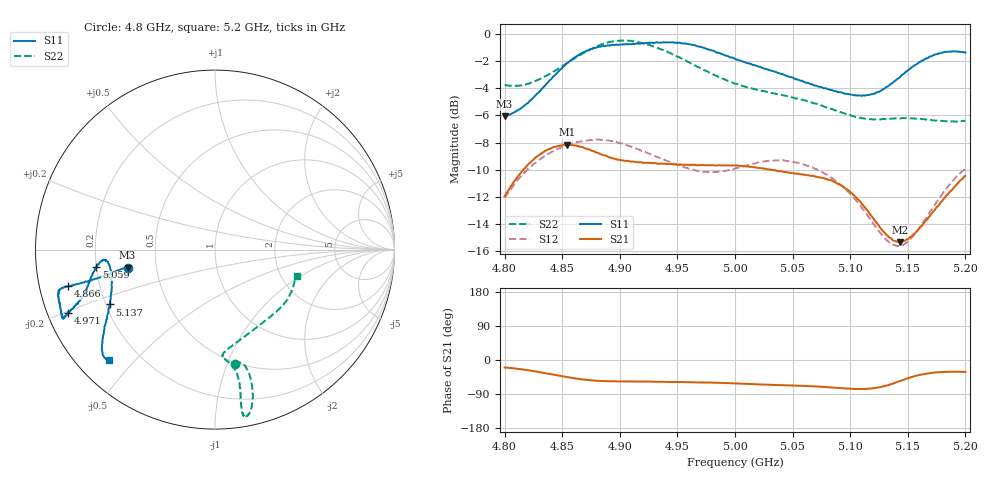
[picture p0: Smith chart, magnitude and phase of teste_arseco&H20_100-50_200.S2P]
! Network Analyzer HP8722D
! Hewlett-Packard
! Data name: Linha & Wilkinson
! Saver's name: Rodrigo Anjos
! Comments: Teste da utilização de aquisição
! continua pelo VNA HP8722D
! Time and date: 6/5/2025 14:14
!  Frequency  S11  S21  S12  S22
# HZ  S  MA R 50
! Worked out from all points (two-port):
!   401 points, 4.8 GHz to 5.2 GHz, reference 50 ohm
!   highest |S21| = -8.16 dB at 4.854 GHz (marker M1); lowest = -15.3 dB at 5.143 GHz (marker M2)
!   |S21| within 3 dB of the highest: 4.806 GHz to 5.092 GHz (286.2 MHz wide, 5.78 % of centre); 5.191614 GHz to end of sweep
!   lowest |S11| = -6.1 dB at 4.8 GHz (marker M3), VSWR 2.98, Z = 16.9 - j4.56 ohm
!   |S11| at or under -10 dB: nowhere
!   |S22| runs from -6.5 to -0.5 dB; largest |S21 - S12| = 0.62
!   S11 on the Smith chart (normalised r, x): 4.8 GHz: 0.34, -0.09; 4.866 GHz: 0.09, -0.12; 4.971 GHz: 0.06, -0.21; 5.059 GHz: 0.20, -0.07; 5.137 GHz: 0.22, -0.23; 5.2 GHz: 0.09, -0.42
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4.8e9  0.4972 -168.3  0.2526 -19.7  0.249 -141.1  0.6483 -80.3
4.828e9  0.6014 -167.2  0.353 -30.8  0.3385 -145.0  0.6746 -75.4
4.854e9  0.7779 -165.9  0.391 -45.2  0.389 -150.0  0.7792 -74.7
4.866e9  0.8442 -166.0  0.3836 -50.6  0.4019 -152.0  0.8374 -75.4
4.867e9  0.8489 -166.0  0.3837 -51.0  0.4025 -152.1  0.8431 -75.4
4.883e9  0.8958 -165.2  0.3609 -55.1  0.408 -154.9  0.9109 -77.3
4.9e9  0.9131 -162.7  0.3436 -56.5  0.3958 -156.6  0.9439 -79.2
4.934e9  0.9276 -156.5  0.3322 -57.5  0.3509 -155.8  0.8824 -80.5
4.971e9  0.8929 -156.7  0.3287 -59.3  0.3117 -146.6  0.7445 -79.7
5e9  0.8111 -159.2  0.3279 -61.9  0.3196 -137.3  0.6557 -81.3
5.034e9  0.7279 -165.4  0.3147 -65.9  0.3416 -134.4  0.6036 -85.7
5.059e9  0.6677 -171.5  0.3037 -68.2  0.3308 -136.2  0.5702 -84.5
5.067e9  0.6518 -173.2  0.3008 -69.4  0.3229 -136.9  0.5576 -82.6
5.083e9  0.6207 -174.6  0.2889 -72.4  0.2967 -138.3  0.5301 -76.8
5.101e9  0.5975 -172.2  0.26 -76.0  0.2549 -138.9  0.4995 -66.6
5.116e9  0.5959 -165.5  0.2208 -76.0  0.2119 -135.6  0.4853 -55.9
5.134e9  0.6469 -154.3  0.1782 -65.2  0.1704 -120.6  0.4874 -43.3
5.137e9  0.6613 -152.5  0.174 -62.3  0.1674 -116.8  0.4879 -41.5
5.143e9  0.6915 -149.3  0.171 -55.6  0.1659 -108.9  0.4886 -38.0
5.154e9  0.7568 -144.6  0.1814 -44.3  0.1791 -95.0  0.4887 -32.4
5.173e9  0.8357 -138.9  0.2241 -33.4  0.2331 -80.8  0.4803 -24.2
5.2e9  0.8528 -133.7  0.3004 -31.4  0.3194 -77.0  0.4783 -17.6
